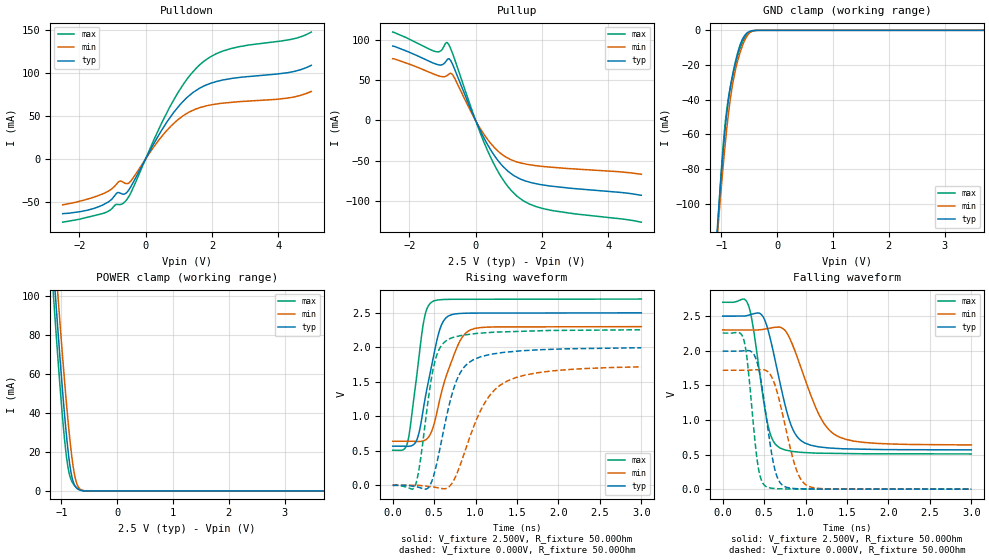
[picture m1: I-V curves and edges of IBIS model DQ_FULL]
| [Disclaimer]  This software code and all associated documentation, comments
| or other information (collectively "Software") is provided
| "AS IS" without warranty of any kind. MICRON TECHNOLOGY, INC.
| ("MTI") EXPRESSLY DISCLAIMS ALL WARRANTIES EXPRESS OR IMPLIED,
| INCLUDING BUT NOT LIMITED TO, NONINFRINGEMENT OF THIRD PARTY
| RIGHTS, AND ANY IMPLIED WARRANTIES OF MERCHANTABILITY OR
| FITNESS FOR ANY PARTICULAR PURPOSE. MTI DOES NOT WARRANT THAT
| THE SOFTWARE WILL MEET YOUR REQUIREMENTS, OR THAT THE
| OPERATION OF THE SOFTWARE WILL BE UNINTERRUPTED OR ERROR-FREE.
| FURTHERMORE, MTI DOES NOT MAKE ANY REPRESENTATIONS REGARDING
| THE USE OR THE RESULTS OF THE USE OF THE SOFTWARE IN TERMS OF
| ITS CORRECTNESS, ACCURACY, RELIABILITY, OR OTHERWISE. THE
| ENTIRE RISK ARISING OUT OF USE OR PERFORMANCE OF THE SOFTWARE
| REMAINS WITH YOU. IN NO EVENT SHALL MTI, ITS AFFILIATED
| COMPANIES OR THEIR SUPPLIERS BE LIABLE FOR ANY DIRECT,
| INDIRECT, CONSEQUENTIAL, INCIDENTAL, OR SPECIAL DAMAGES
| (INCLUDING, WITHOUT LIMITATION, DAMAGES FOR LOSS OF PROFITS,
| BUSINESS INTERRUPTION, OR LOSS OF INFORMATION) ARISING OUT OF
| YOUR USE OF OR INABILITY TO USE THE SOFTWARE, EVEN IF MTI HAS
| BEEN ADVISED OF THE POSSIBILITY OF SUCH DAMAGES. Because some
| jurisdictions prohibit the exclusion or limitation of
| liability for consequential or incidental damages, the above
| limitation may not apply to you.
| [Copyright] Copyright 2002 Micron Technology, Inc. All Rights Reserved.
| From t27b.ibs, Micron Technology, Inc.
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|   MODEL DQ_FULL
[Model]   DQ_FULL
Model_type   I/O
Vinl = 940.0mV
Vinh = 1.560V
Vmeas = 1.250V
Vref = 1.250V
Cref = 30.000pF
Rref = 50.000Ohm
|   typ   min   max
C_comp   3.42pF   3.22pF   3.74pF
[Model Spec]
| Input threshold voltage corners
Vinh   1.560V   1.460V   1.660V
Vinl   0.940V   0.840V   1.040V
| Measurement voltage corners
Vmeas   1.250V   1.150V   1.350V
[Voltage Range]   2.500V   2.300V   2.700V
| Junction Temperature (Ambient temp is 25C typ, 70C min, 0C max)
[Temperature Range]   40.0   85.0   0.0
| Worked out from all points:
|   slope of the pulldown table from 0 to 0.375 V, typ, clamps not added: 14.2 ohm
|   slope of the pullup table from 0 to 0.375 V, typ, clamps not added: 12.1 ohm
|   GND clamp passes 1 mA (typ) near -0.52 V on its own axis
|   POWER clamp passes 1 mA (typ) near -0.71 V on its own axis
|   falling waveform, V_fixture 2.500V, R_fixture 50.00Ohm: 20-80 % time 230ps typ, 330ps min, 165ps max; typ from 2.5 V to 0.567 V
|   rising waveform, V_fixture 2.500V, R_fixture 50.00Ohm: 20-80 % time 187ps typ, 247ps min, 137ps max; typ from 0.567 V to 2.5 V
|   rising waveform, V_fixture 0.000V, R_fixture 50.00Ohm: 20-80 % time 253ps typ, 394ps min, 166ps max; typ from 0 V to 1.99 V
|   falling waveform, V_fixture 0.000V, R_fixture 50.00Ohm: 20-80 % time 150ps typ, 208ps min, 111ps max; typ from 1.99 V to 0 V
[Pulldown]
|   Voltage   I(typ)   I(min)   I(max)
-2.5V     -63.69mA   -53.42mA   -73.65mA
-1.55V    -57.52mA   -44.39mA   NA
-850mV    -39.21mA   NA         NA
-610mV    -40.38mA   NA         -49.34mA
-450mV    -32.69mA   NA         -39.9mA
230mV     16.65mA    NA         NA
850mV     54.36mA    NA         NA
1.24V     71.35mA    NA         NA
1.78V     85.46mA    NA         NA
2.6V      93.86mA    NA         NA
4.3V      100.6mA    NA         NA
5V        109.2mA    78.7mA     147.9mA
[GND Clamp]
|   Voltage   I(typ)   I(min)   I(max)
-2.5V     -883.9mA   -774.4mA   -1.04A
-1.07V    -112.6mA   NA         -115.5mA
-1.05V    -103.5mA   NA         -104.8mA
-990mV    -77.7mA    -85.92mA   -75.25mA
-950mV    -62.43mA   -71.62mA   -59.2mA
-870mV    -38.9mA    -46.94mA   -38.12mA
-790mV    -23.96mA   -29.36mA   -25.08mA
-710mV    -13.06mA   -17.74mA   -14.84mA
-610mV    -4.322mA   NA         -5.827mA
-510mV    -859.6uA   -1.903mA   -1.499mA
-370mV    0A         NA         NA
5V        0A         0A         0A
[Pullup]
|   Voltage   I(typ)   I(min)   I(max)
-2.5V     92.45mA    76.77mA    109.8mA
-1.13V    69.17mA    NA         NA
-990mV    69.48mA    54.28mA    89.34mA
-850mV    75.87mA    NA         96.61mA
-790mV    76.39mA    NA         NA
-670mV    67.54mA    NA         NA
0V        1.007uA    367.5nA    1.234uA
430mV     -34.87mA   NA         NA
830mV     -57.3mA    NA         NA
1.34V     -72.62mA   NA         NA
2.22V     -81.32mA   NA         NA
5V        -93.01mA   -66.88mA   -126.4mA
[POWER Clamp]
|   Voltage   I(typ)   I(min)   I(max)
-2.5V     722.8mA    724mA      725.8mA
-1.15V    117.1mA    134.5mA    103mA
-1.11V    100.9mA    118.5mA    86.56mA
-1.07V    85.01mA    NA         70.57mA
-1.05V    77.25mA    NA         62.81mA
-970mV    47.81mA    65.41mA    34.24mA
-890mV    22.8mA     38.39mA    13.37mA
-830mV    9.731mA    21.34mA    5.946mA
-790mV    4.764mA    12.49mA    3.683mA
-750mV    2.211mA    6.284mA    2.265mA
-690mV    646.6uA    1.702mA    916.4uA
5V        0A         0A         0A
[Ramp]
R_load = 50.00Ohm
|   typ   min   max
dV/dt_r   1.197V/252.734ps   1.031V/392.930ps   1.353V/166.298ps
dV/dt_f   1.160V/229.987ps 997.096mV/329.709ps   1.315V/164.445ps
[Falling Waveform]
V_fixture = 2.500V
V_fixture_min = 2.300V
V_fixture_max = 2.700V
R_fixture = 50.00Ohm
|   Time   V(typ)   V(min)   V(max)
0s        2.5V       2.3V       2.7V
290ps     2.507V     NA         NA
380ps     2.537V     NA         NA
490ps     2.486V     NA         NA
570ps     2.194V     NA         NA
690ps     1.544V     NA         NA
910ps     740.6mV    NA         NA
1.15ns    612.4mV    NA         NA
1.45ns    583mV      NA         NA
3ns       567.3mV    638.6mV    508.6mV
[Rising Waveform]
V_fixture = 2.500V
V_fixture_min = 2.300V
V_fixture_max = 2.700V
R_fixture = 50.00Ohm
|   Time   V(typ)   V(min)   V(max)
0s        567.3mV    638.6mV    508.6mV
190ps     565mV      NA         NA
300ps     687.4mV    NA         NA
380ps     1.184V     NA         NA
470ps     1.735V     NA         NA
550ps     2.184V     NA         NA
630ps     2.411V     NA         NA
820ps     2.493V     NA         NA
930ps     2.497V     NA         NA
3ns       2.5V       2.3V       2.7V
[Rising Waveform]
V_fixture = 0.000V
V_fixture_min = 0.000V
V_fixture_max = 0.000V
R_fixture = 50.00Ohm
|   Time   V(typ)   V(min)   V(max)
0s        -350uV     -455.7uV   -270.5uV
190ps     -2.878mV   NA         NA
300ps     -24.73mV   NA         NA
490ps     122.6mV    NA         NA
650ps     1.001V     NA         NA
770ps     1.518V     NA         NA
880ps     1.738V     NA         NA
1.06ns    1.864V     NA         NA
1.33ns    1.926V     NA         NA
3ns       1.994V     1.718V     2.255V
[Falling Waveform]
V_fixture = 0.000V
V_fixture_min = 0.000V
V_fixture_max = 0.000V
R_fixture = 50.00Ohm
|   Time   V(typ)   V(min)   V(max)
0s        1.994V     1.718V     2.255V
230ps     1.997V     NA         NA
290ps     2.003V     NA         NA
440ps     1.711V     NA         NA
550ps     831.9mV    NA         NA
630ps     279.7mV    NA         NA
690ps     96.76mV    NA         NA
890ps     6.391mV    NA         NA
1ns       2.728mV    NA         NA
3ns       -350uV     -455.7uV   -270.5uV
